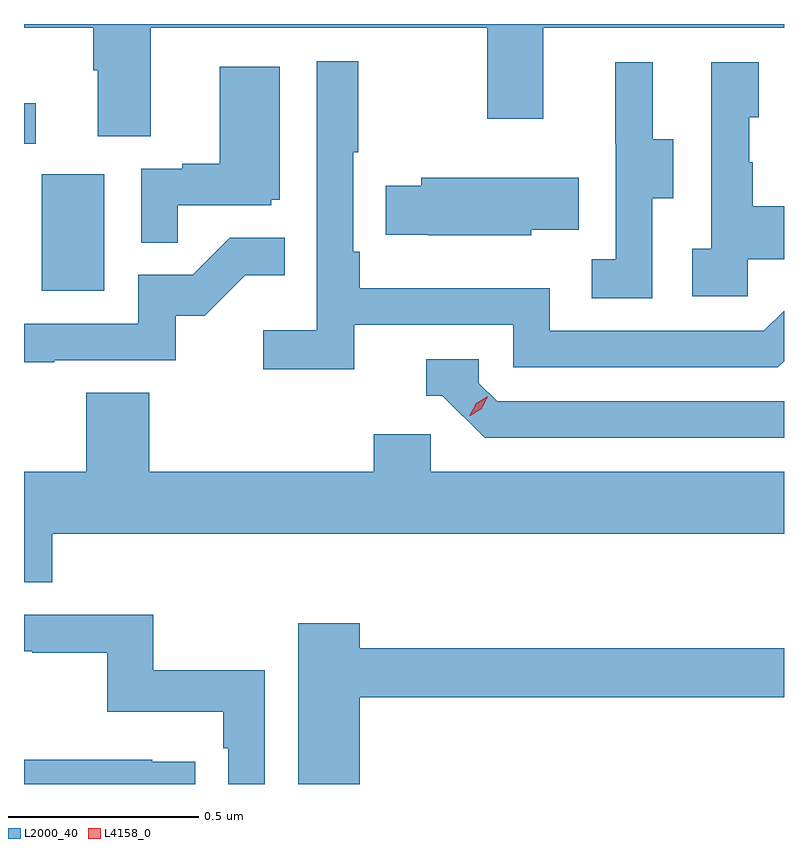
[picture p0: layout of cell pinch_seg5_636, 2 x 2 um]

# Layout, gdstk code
import gdstk
lib = gdstk.Library(unit=1e-6, precision=1e-09)
def R(c, l, rs):  # rectangles x0, y0, x1, y1
    for r in rs: c.add(gdstk.rectangle(r[:2], r[2:], *l))
def P(c, l, *ps):  # polygons
    for p in ps: c.add(gdstk.Polygon(p, *l))
L2000_40 = (2000, 40)
L4158_0 = (4158, 0)

pinch_seg5_636 = lib.new_cell('pinch_seg5_636')
R(pinch_seg5_636, L2000_40, [(1045.55,872.052,1045.714,872.359), (1045.503,872.439,1045.534,872.545)])
P(pinch_seg5_636, L2000_40, [(1045.837,872.744),(1046.722,872.744),(1046.722,872.505),(1046.869,872.505),(1046.869,872.744),(1047.503,872.744),(1047.503,872.754),(1045.503,872.754),(1045.503,872.744),(1045.685,872.744),(1045.685,872.632),(1045.697,872.632),(1045.697,872.458),(1045.837,872.458)],
  [(1046.372,871.962),(1046.79,871.962),(1046.79,871.851),(1047.487,871.851),(1047.503,871.867),(1047.503,872),(1047.45,871.947),(1046.886,871.947),(1046.886,872.059),(1046.387,872.059),(1046.387,872.155),(1046.37,872.155),(1046.37,872.416),(1046.383,872.416),(1046.383,872.656),(1046.274,872.656),(1046.274,871.948),(1046.133,871.948),(1046.133,871.846),(1046.372,871.846)],
  [(1047.408,872.135),(1047.503,872.135),(1047.503,872.275),(1047.421,872.275),(1047.421,872.39),(1047.411,872.39),(1047.411,872.508),(1047.436,872.508),(1047.436,872.653),(1047.312,872.653),(1047.312,872.162),(1047.261,872.162),(1047.261,872.037),(1047.408,872.037)],
  [(1047.156,872.296),(1047.211,872.296),(1047.211,872.451),(1047.157,872.451),(1047.157,872.653),(1047.059,872.653),(1047.059,872.439),(1047.06,872.439),(1047.06,872.135),(1046.997,872.135),(1046.997,872.032),(1047.156,872.032)],
  [(1045.907,872.277),(1046.154,872.277),(1046.154,872.292),(1046.176,872.292),(1046.176,872.641),(1046.018,872.641),(1046.018,872.386),(1045.919,872.386),(1045.919,872.373),(1045.812,872.373),(1045.812,872.179),(1045.907,872.179)],
  [(1046.838,872.213),(1046.963,872.213),(1046.963,872.35),(1046.549,872.35),(1046.549,872.328),(1046.455,872.328),(1046.455,872.199),(1046.566,872.199),(1046.566,872.198),(1046.838,872.198)],
  [(1045.583,871.869),(1045.902,871.869),(1045.902,871.986),(1045.978,871.986),(1046.085,872.093),(1046.189,872.093),(1046.189,872.192),(1046.045,872.192),(1045.947,872.094),(1045.803,872.094),(1045.803,871.965),(1045.503,871.965),(1045.503,871.864),(1045.583,871.864)],
  [(1047.503,871.761),(1046.748,871.761),(1046.7,871.809),(1046.7,871.872),(1046.561,871.872),(1046.561,871.776),(1046.604,871.776),(1046.715,871.665),(1047.503,871.665)],
  [(1045.577,871.412),(1047.503,871.412),(1047.503,871.576),(1046.574,871.576),(1046.574,871.674),(1046.423,871.674),(1046.423,871.576),(1045.832,871.576),(1045.832,871.784),(1045.667,871.784),(1045.667,871.576),(1045.503,871.576),(1045.503,871.285),(1045.577,871.285)],
  [(1046.136,871.054),(1045.843,871.054),(1045.843,871.2),(1045.503,871.2),(1045.503,871.104),(1045.525,871.104),(1045.525,871.099),(1045.722,871.099),(1045.722,870.944),(1046.027,870.944),(1046.027,870.848),(1046.04,870.848),(1046.04,870.754),(1046.136,870.754)],
  [(1046.386,870.982),(1047.503,870.982),(1047.503,871.111),(1046.386,871.111),(1046.386,871.177),(1046.225,871.177),(1046.225,870.754),(1046.386,870.754)],
  [(1045.954,870.813),(1045.841,870.813),(1045.841,870.818),(1045.503,870.818),(1045.503,870.754),(1045.954,870.754)])
P(pinch_seg5_636, L4158_0, [(1046.676,871.723),(1046.676,871.724),(1046.693,871.756),(1046.724,871.775),(1046.724,871.775),(1046.724,871.774),(1046.708,871.742),(1046.677,871.723)])

lib.write_gds('pinch_seg5_636.gds')
